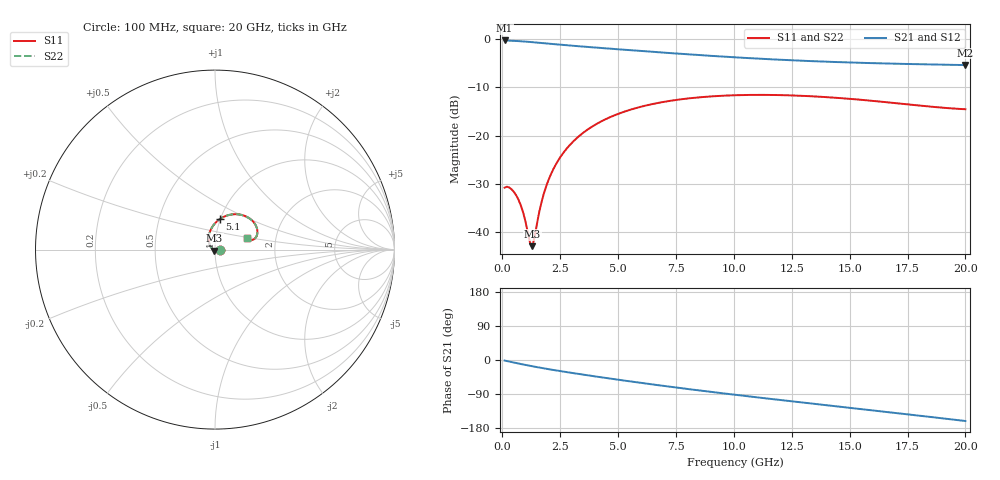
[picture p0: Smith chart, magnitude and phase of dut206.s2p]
! Created with skrf 1.9.0 (http://scikit-rf.org).
# GHz S RI R 50.0
!freq ReS11 ImS11 ReS21 ImS21 ReS12 ImS12 ReS22 ImS22
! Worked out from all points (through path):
!   200 points, 100 MHz to 20 GHz, reference 50 ohm
!   highest |S21| = -0.26 dB at 100 MHz (marker M1); lowest = -5.4 dB at 20 GHz (marker M2)
!   group delay of S21, straight-line fit = 21.3 ps
!   lowest |S11| = -42.9 dB at 1.3 GHz (marker M3), VSWR 1.01, Z = 49.5 - j0.53 ohm
!   |S11| at or under -10 dB: start of sweep to end of sweep
!   |S22| runs from -42.9 to -11.6 dB; largest |S21 - S12| = 2e-15
!   S11 on the Smith chart (normalised r, x): 100 MHz: 1.06, +0.00; 5.1 GHz: 0.99, +0.35; 20 GHz: 1.42, +0.18
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0.1  0.0288 6.2e-05  0.9703 -0.0252  0.9703 -0.0252  0.0288 6.2e-05
0.4  0.0268 -0.00722  0.9601 -0.0915  0.9601 -0.0915  0.0268 -0.00722
0.7  0.0185 -0.0111  0.9434 -0.1548  0.9434 -0.1548  0.0185 -0.0111
0.9  0.0112 -0.0113  0.9286 -0.1943  0.9286 -0.1943  0.0112 -0.0113
1.2  -0.00073 -0.00762  0.9025 -0.2489  0.9025 -0.2489  -0.00073 -0.00762
1.3  -0.00469 -0.00535  0.893 -0.2659  0.893 -0.2659  -0.00469 -0.00535
1.4  -0.00855 -0.00262  0.8832 -0.2822  0.8832 -0.2822  -0.00855 -0.00262
1.6  -0.0157 0.00415  0.8629 -0.3132  0.8629 -0.3132  -0.0157 0.00415
1.7  -0.019 0.00811  0.8525 -0.3279  0.8525 -0.3279  -0.019 0.00811
1.9  -0.0247 0.017  0.8312 -0.3557  0.8312 -0.3557  -0.0247 0.017
2.1  -0.0292 0.0268  0.8096 -0.3816  0.8096 -0.3816  -0.0292 0.0268
2.4  -0.0336 0.0429  0.7767 -0.4173  0.7767 -0.4173  -0.0336 0.0429
2.7  -0.035 0.0598  0.7435 -0.4499  0.7435 -0.4499  -0.035 0.0598
3.5  -0.0266 0.1039  0.6541 -0.5235  0.6541 -0.5235  -0.0266 0.1039
4.2  -0.00777 0.1372  0.575 -0.5746  0.575 -0.5746  -0.00777 0.1372
5.1  0.0258 0.1694  0.473 -0.624  0.473 -0.624  0.0258 0.1694
6.8  0.0986 0.1965  0.2858 -0.6727  0.2858 -0.6727  0.0986 0.1965
8.3  0.1562 0.1911  0.1346 -0.6765  0.1346 -0.6765  0.1562 0.1911
10.1  0.2055 0.1631  -0.0237 -0.6472  -0.0237 -0.6472  0.2055 0.1631
13.4  0.2365 0.0967  -0.2519 -0.5355  -0.2519 -0.5355  0.2365 0.0967
16.7  0.2135 0.0557  -0.414 -0.3754  -0.414 -0.3754  0.2135 0.0557
20  0.1771 0.062  -0.5097 -0.1756  -0.5097 -0.1756  0.1771 0.062
